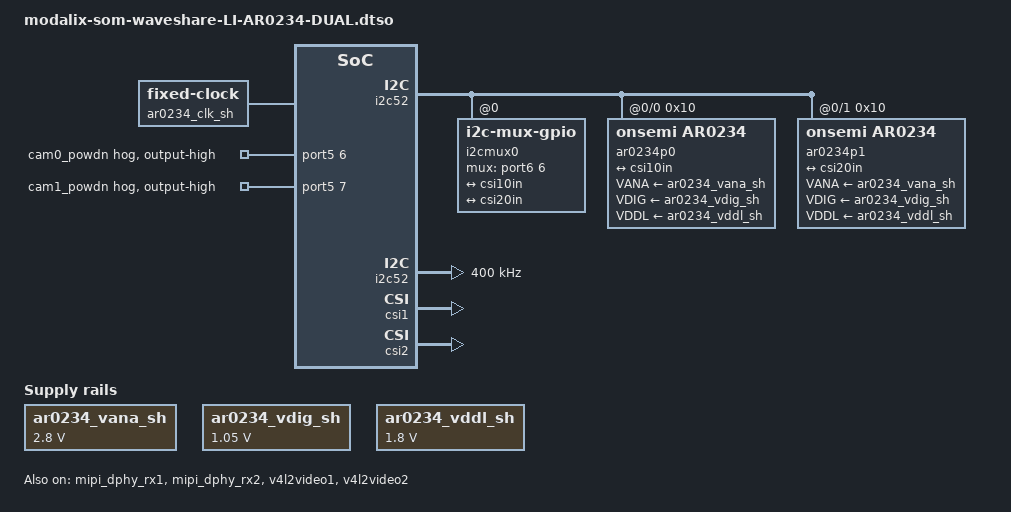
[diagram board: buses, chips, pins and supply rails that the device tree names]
// SPDX-License-Identifier: (GPL-2.0+ OR MIT)
/*
 * Copyright (c) 2026 SiMa ai
 */

/dts-v1/;
/plugin/;

&{/} {
    ar0234_vana_sh: csi_fixedregulator@0 {
        compatible = "regulator-fixed";
        regulator-name = "ar0234_vana_sh";
        regulator-min-microvolt = <2800000>;
        regulator-max-microvolt = <2800000>;
        enable-active-high;
        startup-delay-us = <300000>;
        regulator-always-on;
    };
    ar0234_vdig_sh: csi_fixedregulator@1 {
        compatible = "regulator-fixed";
        regulator-name = "ar0234_vdig_sh";
        regulator-min-microvolt = <1050000>;
        regulator-max-microvolt = <1050000>;
        regulator-always-on;
    };
    ar0234_vddl_sh: csi_fixedregulator@2 {
        compatible = "regulator-fixed";
        regulator-name = "ar0234_vddl_sh";
        regulator-min-microvolt = <1800000>;
        regulator-max-microvolt = <1800000>;
        regulator-always-on;
    };
    ar0234_clk_sh: csi_camera-clk {
        compatible = "fixed-clock";
        #clock-cells = <0>;
        clock-frequency = <27000000>;
    };

    i2cmux0: i2cmux@0 {
        compatible = "i2c-mux-gpio";
        i2c-parent = <&i2c52>;
        #address-cells = <1>;
        #size-cells = <0>;
        /* Set port6 gpio6 to GPIO_ACTIVE_LOW mode */
        mux-gpios = <&port6 6 0>;

        i2cmux0p0: i2c@0 {
            reg = <0>;
            #address-cells = <1>;
            #size-cells = <0>;
        };

        i2cmux0p1: i2c@1 {
            reg = <1>;
            #address-cells = <1>;
            #size-cells = <0>;
        };
    };
};

&port5 {
    cam-hog0 {
        gpio-hog;
        /* Set port5 gpio6 to GPIO_ACTIVE_HIGH mode */
        gpios = <6 0>;
        output-high;
        line-name = "cam0_powdn";
    };

    cam-hog1 {
        gpio-hog;
        /* Set port5 gpio7 to GPIO_ACTIVE_HIGH mode */
        gpios = <7 0>;
        output-high;
        line-name = "cam1_powdn";
    };
};

&i2c52 {
    status = "okay";
    clock-frequency = <400000>;
    #address-cells = <1>;
    #size-cells = <0>;
};

&csi1 {
    status = "okay";
};

&csi2 {
    status = "okay";
};

&axi_vdma1 {
    status = "okay";
};

&axi_vdma2 {
    status = "okay";
};

&mipi_dphy_rx1 {
    status = "okay";
};

&mipi_dphy_rx2 {
    status = "okay";
};

&v4l2video1 {
    status = "okay";
};

&v4l2video2 {
    status = "okay";
};

&v4l2vdma1 {
    status = "okay";
};

&v4l2vdma2 {
    status = "okay";
};

&csi10in {
    clock-lanes = <0>;
    data-lanes = <1 2>;
    link-frequencies = /bits/ 64 <270000000>;
    remote-endpoint = <&cam10out>;
    clock-continuous;
};

&csi20in {
    clock-lanes = <0>;
    data-lanes = <1 2>;
    link-frequencies = /bits/ 64 <270000000>;
    remote-endpoint = <&cam20out>;
    clock-continuous;
};

&i2cmux0p0 {
        ar0234p0: ar0234@10 {
                compatible = "onsemi,ar0234";
                reg = <0x10>;

                clocks = <&ar0234_clk_sh>;
                clock-names = "xclk";

                VANA-supply = <&ar0234_vana_sh>;
                VDIG-supply = <&ar0234_vdig_sh>;
                VDDL-supply = <&ar0234_vddl_sh>;

                port@1 {
                        cam10out: endpoint@0 {
                                clock-lanes = <0>;
                                data-lanes = <1 2>;
                                link-frequencies = /bits/ 64 <270000000>;
                                remote-endpoint = <&csi10in>;
                                clock-continuous;
                        };
                };
        };
};

&i2cmux0p1 {
        ar0234p1: ar0234@10 {
                compatible = "onsemi,ar0234";
                reg = <0x10>;

                clocks = <&ar0234_clk_sh>;
                clock-names = "xclk";

                VANA-supply = <&ar0234_vana_sh>;
                VDIG-supply = <&ar0234_vdig_sh>;
                VDDL-supply = <&ar0234_vddl_sh>;

                port@1 {
                        cam20out: endpoint@0 {
                                clock-lanes = <0>;
                                data-lanes = <1 2>;
                                link-frequencies = /bits/ 64 <270000000>;
                                remote-endpoint = <&csi20in>;
                                clock-continuous;
                        };
                };
        };
};
